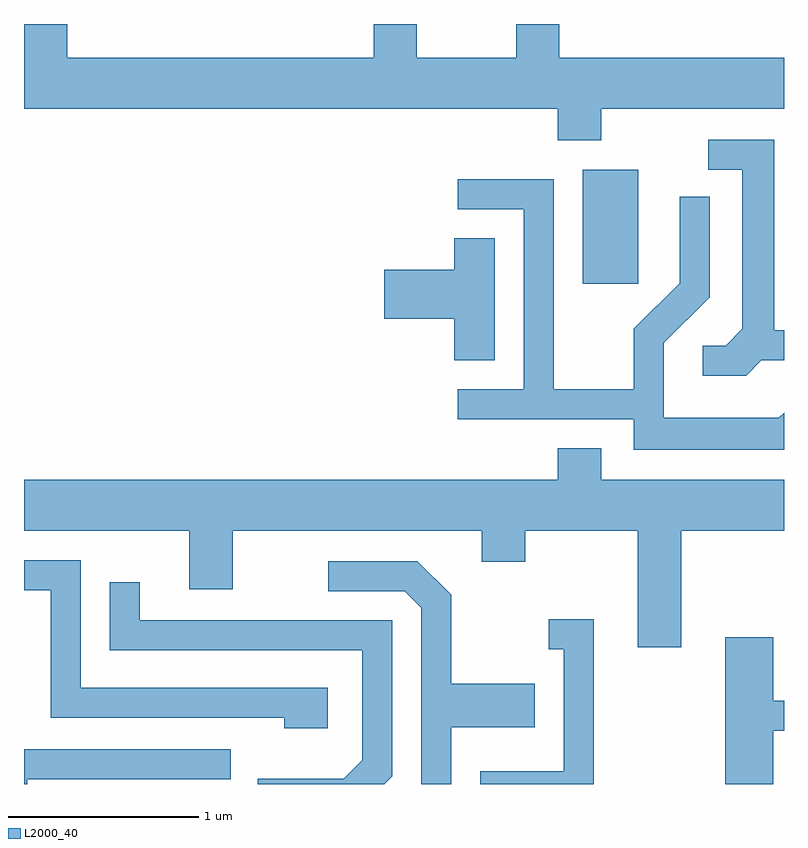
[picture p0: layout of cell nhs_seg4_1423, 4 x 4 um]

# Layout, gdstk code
import gdstk
lib = gdstk.Library(unit=1e-6, precision=1e-09)
def R(c, l, rs):  # rectangles x0, y0, x1, y1
    for r in rs: c.add(gdstk.rectangle(r[:2], r[2:], *l))
def P(c, l, *ps):  # polygons
    for p in ps: c.add(gdstk.Polygon(p, *l))
L2000_40 = (2000, 40)

nhs_seg4_1423 = lib.new_cell('nhs_seg4_1423')
R(nhs_seg4_1423, L2000_40, [(228.551,1382.616,228.844,1383.214)])
P(nhs_seg4_1423, L2000_40, [(228.649,1383.536),(229.611,1383.536),(229.611,1383.804),(228.429,1383.804),(228.429,1383.982),(228.201,1383.982),(228.201,1383.804),(227.679,1383.804),(227.679,1383.982),(227.451,1383.982),(227.451,1383.804),(225.839,1383.804),(225.839,1383.982),(225.611,1383.982),(225.611,1383.536),(228.421,1383.536),(228.421,1383.371),(228.649,1383.371)],
  [(229.492,1382.211),(229.611,1382.211),(229.611,1382.369),(229.559,1382.369),(229.559,1383.374),(229.213,1383.374),(229.213,1383.216),(229.391,1383.216),(229.391,1382.377),(229.304,1382.289),(229.183,1382.289),(229.183,1382.131),(229.412,1382.131)],
  [(229.611,1381.936),(229.584,1381.909),(228.979,1381.909),(228.979,1382.304),(229.219,1382.544),(229.219,1383.073),(229.061,1383.073),(229.061,1382.617),(228.821,1382.377),(228.821,1382.059),(228.399,1382.059),(228.399,1383.164),(227.893,1383.164),(227.893,1383.006),(228.241,1383.006),(228.241,1382.059),(227.893,1382.059),(227.893,1381.901),(228.821,1381.901),(228.821,1381.741),(229.611,1381.741)],
  [(228.089,1382.854),(227.876,1382.854),(227.876,1382.689),(227.506,1382.689),(227.506,1382.431),(227.876,1382.431),(227.876,1382.211),(228.089,1382.211)],
  [(229.069,1381.316),(229.611,1381.316),(229.611,1381.584),(228.649,1381.584),(228.649,1381.749),(228.421,1381.749),(228.421,1381.584),(225.611,1381.584),(225.611,1381.316),(226.481,1381.316),(226.481,1381.006),(226.709,1381.006),(226.709,1381.316),(228.021,1381.316),(228.021,1381.151),(228.249,1381.151),(228.249,1381.316),(228.841,1381.316),(228.841,1380.701),(229.069,1380.701)],
  [(227.209,1380.489),(225.909,1380.489),(225.909,1381.159),(225.611,1381.159),(225.611,1381.001),(225.751,1381.001),(225.751,1380.331),(226.981,1380.331),(226.981,1380.276),(227.209,1380.276)],
  [(227.859,1380.281),(228.299,1380.281),(228.299,1380.509),(227.859,1380.509),(227.859,1380.977),(227.682,1381.154),(227.213,1381.154),(227.213,1380.996),(227.614,1380.996),(227.701,1380.909),(227.701,1379.982),(227.859,1379.982)],
  [(227.549,1380.024),(227.549,1380.844),(226.219,1380.844),(226.219,1381.043),(226.061,1381.043),(226.061,1380.686),(227.391,1380.686),(227.391,1380.107),(227.294,1380.009),(226.841,1380.009),(226.841,1379.982),(227.507,1379.982)],
  [(228.609,1380.849),(228.373,1380.849),(228.373,1380.691),(228.451,1380.691),(228.451,1380.049),(228.011,1380.049),(228.011,1379.982),(228.609,1379.982)],
  [(229.554,1380.261),(229.611,1380.261),(229.611,1380.419),(229.554,1380.419),(229.554,1380.754),(229.301,1380.754),(229.301,1379.982),(229.554,1379.982)],
  [(225.629,1380.006),(226.698,1380.006),(226.698,1380.164),(225.611,1380.164),(225.611,1379.982),(225.629,1379.982)])

lib.write_gds('nhs_seg4_1423.gds')
